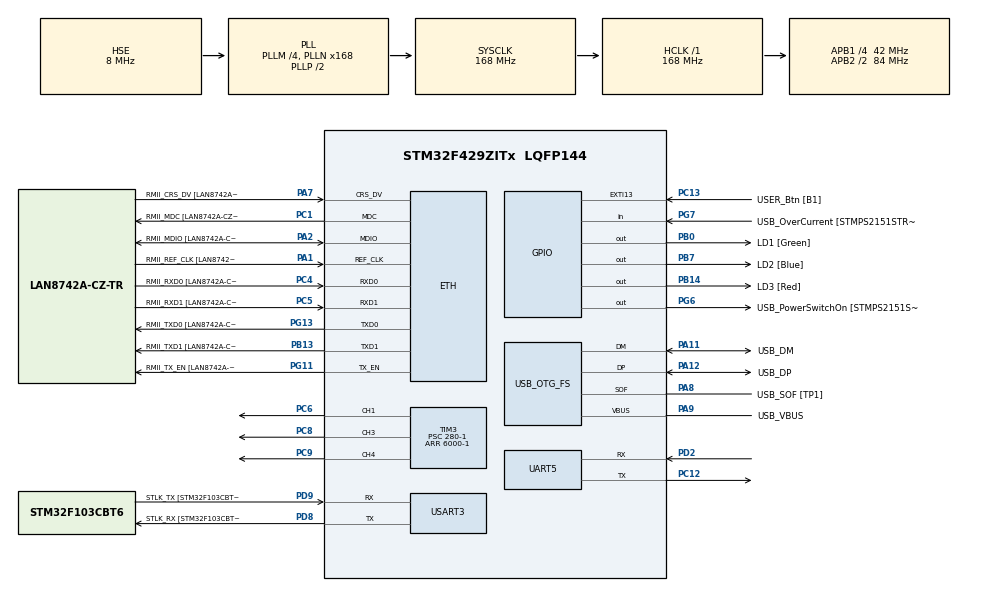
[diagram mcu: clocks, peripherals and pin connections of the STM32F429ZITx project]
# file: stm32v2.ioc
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ETH.MediaInterface=HAL_ETH_RMII_MODE
ETH.PHY_Name=LAN8742A_PHY_ADDRESS
ETH.PHY_Value=0
ETH.PhyAddress=0
Mcu.Family=STM32F4
Mcu.Name=STM32F429ZITx
Mcu.Package=LQFP144
NVIC.PriorityGroup=NVIC_PRIORITYGROUP_4
NVIC.TIM2_IRQn=true\:0\:0\:false\:true\:true\:1\:true\:true\:true
NVIC.TIM4_IRQn=true\:0\:0\:false\:false\:true\:true\:true\:true
NVIC.UART5_IRQn=true\:0\:0\:false\:true\:true\:2\:true\:true\:true
PA1.GPIO_Label=RMII_REF_CLK [LAN8742A-CZ-TR_REFCLK0]
PA1.Mode=RMII
PA1.Signal=ETH_REF_CLK
PA10.GPIO_Label=USB_ID
PA10.Signal=USB_OTG_FS_ID
PA11.GPIO_Label=USB_DM
PA11.Mode=Device_Only
PA11.Signal=USB_OTG_FS_DM
PA12.GPIO_Label=USB_DP
PA12.Mode=Device_Only
PA12.Signal=USB_OTG_FS_DP
PA13.GPIO_Label=TMS
PA13.Mode=Serial_Wire
PA13.Signal=SYS_JTMS-SWDIO
PA14.GPIO_Label=TCK
PA14.Mode=Serial_Wire
PA14.Signal=SYS_JTCK-SWCLK
PA2.GPIO_Label=RMII_MDIO [LAN8742A-CZ-TR_MDIO]
PA2.Mode=RMII
PA2.Signal=ETH_MDIO
PA7.GPIO_Label=RMII_CRS_DV [LAN8742A-CZ-TR_CRS_DV]
PA7.Mode=RMII
PA7.Signal=ETH_CRS_DV
PA8.GPIO_Label=USB_SOF [TP1]
PA8.Mode=Activate_SOF_FS
PA8.Signal=USB_OTG_FS_SOF
PA9.GPIO_Label=USB_VBUS
PA9.Mode=Activate_VBUS
PA9.Signal=USB_OTG_FS_VBUS
PB0.GPIO_Label=LD1 [Green]
PB0.Signal=GPIO_Output
PB13.GPIO_Label=RMII_TXD1 [LAN8742A-CZ-TR_TXD1]
PB13.Mode=RMII
PB13.Signal=ETH_TXD1
PB14.GPIO_Label=LD3 [Red]
PB14.Signal=GPIO_Output
PB7.GPIO_Label=LD2 [Blue]
PB7.Signal=GPIO_Output
PC1.GPIO_Label=RMII_MDC [LAN8742A-CZ-TR_MDC]
PC1.Mode=RMII
PC1.Signal=ETH_MDC
PC12.Mode=Asynchronous
PC12.Signal=UART5_TX
PC13.GPIO_Label=USER_Btn [B1]
PC13.Signal=GPXTI13
PC14/OSC32_IN.Mode=LSE-External-Oscillator
PC14/OSC32_IN.Signal=RCC_OSC32_IN
PC15/OSC32_OUT.Mode=LSE-External-Oscillator
PC15/OSC32_OUT.Signal=RCC_OSC32_OUT
PC4.GPIO_Label=RMII_RXD0 [LAN8742A-CZ-TR_RXD0]
PC4.Mode=RMII
PC4.Signal=ETH_RXD0
PC5.GPIO_Label=RMII_RXD1 [LAN8742A-CZ-TR_RXD1]
PC5.Mode=RMII
PC5.Signal=ETH_RXD1
PC6.Signal=S_TIM3_CH1
PC8.Signal=S_TIM3_CH3
PC9.Signal=S_TIM3_CH4
PD2.Mode=Asynchronous
PD2.Signal=UART5_RX
PD8.GPIO_Label=STLK_RX [STM32F103CBT6_PA3]
PD8.Mode=Asynchronous
PD8.Signal=USART3_TX
PD9.GPIO_Label=STLK_TX [STM32F103CBT6_PA2]
PD9.Mode=Asynchronous
PD9.Signal=USART3_RX
PG11.GPIO_Label=RMII_TX_EN [LAN8742A-CZ-TR_TXEN]
PG11.Mode=RMII
PG11.Signal=ETH_TX_EN
PG13.GPIO_Label=RMII_TXD0 [LAN8742A-CZ-TR_TXD0]
PG13.Mode=RMII
PG13.Signal=ETH_TXD0
PG6.GPIO_Label=USB_PowerSwitchOn [STMPS2151STR_EN]
PG6.Signal=GPIO_Output
PG7.GPIO_Label=USB_OverCurrent [STMPS2151STR_FAULT]
PG7.Signal=GPIO_Input
PH0/OSC_IN.GPIO_Label=MCO [STM32F103CBT6_PA8]
PH0/OSC_IN.Mode=HSE-External-Clock-Source
PH0/OSC_IN.Signal=RCC_OSC_IN
PH1/OSC_OUT.Mode=HSE-External-Clock-Source
PH1/OSC_OUT.Signal=RCC_OSC_OUT
ProjectManager.HeapSize=0x200
ProjectManager.StackSize=0x400
ProjectManager.TargetToolchain=STM32CubeIDE
RCC.48MHZClocksFreq_Value=48000000
RCC.AHBFreq_Value=168000000
RCC.APB1CLKDivider=RCC_HCLK_DIV4
RCC.APB1Freq_Value=42000000
RCC.APB1TimFreq_Value=84000000
RCC.APB2CLKDivider=RCC_HCLK_DIV2
RCC.APB2Freq_Value=84000000
RCC.APB2TimCLKDivider=2
RCC.APB2TimFreq_Value=168000000
RCC.CortexFreq_Value=168000000
RCC.HCLKFreq_Value=168000000
RCC.HSE_VALUE=8000000
RCC.HSI_VALUE=16000000
RCC.PLLM=4
RCC.PLLMUL=RCC_PLL_MUL9
RCC.PLLN=168
RCC.PLLQ=7
RCC.PRESCALERUSB=RCC_USBCLKSOURCE_PLL_DIV1_5
RCC.SYSCLKFreq_VALUE=168000000
RCC.SYSCLKSource=RCC_SYSCLKSOURCE_PLLCLK
RCC.SYSCLKSourceVirtual=RCC_SYSCLKSOURCE_PLLCLK
RCC.USBFreq_Value=48000000
RCC.VCOOutputFreq_Value=336000000
SH.S_TIM3_CH1.0=TIM3_CH1,PWM Generation1 CH1
SH.S_TIM3_CH3.0=TIM3_CH3,PWM Generation3 CH3
SH.S_TIM3_CH4.0=TIM3_CH4,PWM Generation4 CH4
TIM2.Period=2000-1
TIM2.Prescaler=42000-1
TIM3.Channel-PWM\ Generation1\ CH1=TIM_CHANNEL_1
TIM3.Channel-PWM\ Generation3\ CH3=TIM_CHANNEL_3
TIM3.Channel-PWM\ Generation4\ CH4=TIM_CHANNEL_4
TIM3.Period=6000-1
TIM3.Prescaler=280-1
TIM4.Period=1000-1
TIM4.Prescaler=42000-1
UART5.VirtualMode=Asynchronous
USART3.VirtualMode=VM_ASYNC
USB_OTG_FS.VirtualMode=Device_Only
VP_TIM2_VS_ClockSourceINT.Mode=Internal
VP_TIM3_VS_ClockSourceINT.Mode=Internal
VP_TIM4_VS_ClockSourceINT.Mode=Internal
board=NUCLEO-F429ZI

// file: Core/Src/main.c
/* USER CODE BEGIN Header */
/**
 ******************************************************************************
 * @file           : main.c
 * @brief          : Main program body
 ******************************************************************************
 * @attention
 *
 * Copyright (c) 2024 STMicroelectronics.
 * All rights reserved.
 *
 * This software is licensed under terms that can be found in the LICENSE file
 * in the root directory of this software component.
 * If no LICENSE file comes with this software, it is provided AS-IS.
 *
 ******************************************************************************
 */
/* USER CODE END Header */
#include "main.h"
#include "string.h"

ETH_TxPacketConfig TxConfig;
ETH_DMADescTypeDef
    DMARxDscrTab[ETH_RX_DESC_CNT]; /* Ethernet Rx DMA Descriptors */
ETH_DMADescTypeDef
    DMATxDscrTab[ETH_TX_DESC_CNT]; /* Ethernet Tx DMA Descriptors */

ETH_HandleTypeDef heth;

TIM_HandleTypeDef htim2;
TIM_HandleTypeDef htim3;
TIM_HandleTypeDef htim4;

UART_HandleTypeDef huart5;
UART_HandleTypeDef huart3;

PCD_HandleTypeDef hpcd_USB_OTG_FS;

void SystemClock_Config(void);
static void MX_GPIO_Init(void);
static void MX_ETH_Init(void);
static void MX_USART3_UART_Init(void);
static void MX_USB_OTG_FS_PCD_Init(void);
static void MX_TIM2_Init(void);
static void MX_TIM3_Init(void);
static void MX_UART5_Init(void);
static void MX_TIM4_Init(void);
static void MX_NVIC_Init(void);

/* USER CODE BEGIN 0 */
int8_t rxbuf;
int8_t oper[4];
const uint8_t RES_ERR = 0, RES_DON = 1;
#define MOVEOP 0
#define TRIGOP 1
#define ENDOFDATA 2
#define PHIMAX 750
#define PHIMIN 150
#define THTMAX 750
#define THTMIN 450
#define DFLTPULSE 210
#define TRIGPULSE 680
#define MAXBOUNDCNT 30
const int PHICENTER = 450 - 1, THTCENTER = 740 - 1;
const float kpx = .13, kpy = .13;
volatile int phipulse = PHICENTER, thtpulse = THTCENTER;
volatile int shotflag = 0, moveflag = 0;
volatile int boundcnt = MAXBOUNDCNT;
volatile int trigprogress = 0;
/* USER CODE END 0 */

int main(void) {

  /* MCU Configuration--------------------------------------------------------*/

  /* Reset of all peripherals, Initializes the Flash interface and the Systick.
   */
  HAL_Init();

  /* Configure the system clock */
  SystemClock_Config();

  /* Initialize all configured peripherals */
  MX_GPIO_Init();
  MX_ETH_Init();
  MX_USART3_UART_Init();
  MX_USB_OTG_FS_PCD_Init();
  MX_TIM2_Init();
  MX_TIM3_Init();
  MX_UART5_Init();
  MX_TIM4_Init();

  /* Initialize interrupts */
  MX_NVIC_Init();
  /* USER CODE BEGIN 2 */
  HAL_TIM_PWM_Start(&htim3, TIM_CHANNEL_1);
  HAL_TIM_PWM_Start(&htim3, TIM_CHANNEL_3);
  HAL_TIM_PWM_Start(&htim3, TIM_CHANNEL_4);
  HAL_UART_Receive_IT(&huart5, &rxbuf, 1);
  TIM3->CCR3 = THTCENTER;
  TIM3->CCR4 = PHICENTER;
  TIM3->CCR1 = DFLTPULSE;
  /* USER CODE END 2 */

  /* Infinite loop */
  /* USER CODE BEGIN WHILE */
  while (1) {
    if (moveflag) {
      // start dc motor
      HAL_GPIO_WritePin(GPIOB, GPIO_PIN_0, GPIO_PIN_SET);

      // caculate pwm duty cycle
      phipulse += kpx * (-oper[1]);
      thtpulse += kpy * (oper[2]);

      // check bound
      // if out of bound, boundcnt--;

      // apply pwm duty cycle
      TIM3->CCR3 = thtpulse;
      TIM3->CCR4 = phipulse;

      // reset flag
      moveflag = 0;
    }
    /* USER CODE END WHILE */

  }
}

void SystemClock_Config(void) {
  RCC_OscInitTypeDef RCC_OscInitStruct = {0};
  RCC_ClkInitTypeDef RCC_ClkInitStruct = {0};

  /** Configure the main internal regulator output voltage
   */
  __HAL_RCC_PWR_CLK_ENABLE();
  __HAL_PWR_VOLTAGESCALING_CONFIG(PWR_REGULATOR_VOLTAGE_SCALE1);

  /** Initializes the RCC Oscillators according to the specified parameters
   * in the RCC_OscInitTypeDef structure.
   */
  RCC_OscInitStruct.OscillatorType = RCC_OSCILLATORTYPE_HSE;
  RCC_OscInitStruct.HSEState = RCC_HSE_BYPASS;
  RCC_OscInitStruct.PLL.PLLState = RCC_PLL_ON;
  RCC_OscInitStruct.PLL.PLLSource = RCC_PLLSOURCE_HSE;
  RCC_OscInitStruct.PLL.PLLM = 4;
  RCC_OscInitStruct.PLL.PLLN = 168;
  RCC_OscInitStruct.PLL.PLLP = RCC_PLLP_DIV2;
  RCC_OscInitStruct.PLL.PLLQ = 7;
  if (HAL_RCC_OscConfig(&RCC_OscInitStruct) != HAL_OK) {
    Error_Handler();
  }

  /** Initializes the CPU, AHB and APB buses clocks
   */
  RCC_ClkInitStruct.ClockType = RCC_CLOCKTYPE_HCLK | RCC_CLOCKTYPE_SYSCLK |
                                RCC_CLOCKTYPE_PCLK1 | RCC_CLOCKTYPE_PCLK2;
  RCC_ClkInitStruct.SYSCLKSource = RCC_SYSCLKSOURCE_PLLCLK;
  RCC_ClkInitStruct.AHBCLKDivider = RCC_SYSCLK_DIV1;
  RCC_ClkInitStruct.APB1CLKDivider = RCC_HCLK_DIV4;
  RCC_ClkInitStruct.APB2CLKDivider = RCC_HCLK_DIV2;

  if (HAL_RCC_ClockConfig(&RCC_ClkInitStruct, FLASH_LATENCY_5) != HAL_OK) {
    Error_Handler();
  }
}

/**
 * @brief NVIC Configuration.
 * @retval None
 */
static void MX_NVIC_Init(void) {
  /* TIM2_IRQn interrupt configuration */
  HAL_NVIC_SetPriority(TIM2_IRQn, 0, 0);
  HAL_NVIC_EnableIRQ(TIM2_IRQn);
  /* UART5_IRQn interrupt configuration */
  HAL_NVIC_SetPriority(UART5_IRQn, 0, 0);
  HAL_NVIC_EnableIRQ(UART5_IRQn);
}

static void MX_ETH_Init(void) {

  static uint8_t MACAddr[6];

  heth.Instance = ETH;
  MACAddr[0] = 0x00;
  MACAddr[1] = 0x80;
  MACAddr[2] = 0xE1;
  MACAddr[3] = 0x00;
  MACAddr[4] = 0x00;
  MACAddr[5] = 0x00;
  heth.Init.MACAddr = &MACAddr[0];
  heth.Init.MediaInterface = HAL_ETH_RMII_MODE;
  heth.Init.TxDesc = DMATxDscrTab;
  heth.Init.RxDesc = DMARxDscrTab;
  heth.Init.RxBuffLen = 1524;

  if (HAL_ETH_Init(&heth) != HAL_OK) {
    Error_Handler();
  }

  memset(&TxConfig, 0, sizeof(ETH_TxPacketConfig));
  TxConfig.Attributes =
      ETH_TX_PACKETS_FEATURES_CSUM | ETH_TX_PACKETS_FEATURES_CRCPAD;
  TxConfig.ChecksumCtrl = ETH_CHECKSUM_IPHDR_PAYLOAD_INSERT_PHDR_CALC;
  TxConfig.CRCPadCtrl = ETH_CRC_PAD_INSERT;
}

static void MX_TIM2_Init(void) {

  TIM_ClockConfigTypeDef sClockSourceConfig = {0};
  TIM_MasterConfigTypeDef sMasterConfig = {0};

  htim2.Instance = TIM2;
  htim2.Init.Prescaler = 42000 - 1;
  htim2.Init.CounterMode = TIM_COUNTERMODE_UP;
  htim2.Init.Period = 2000 - 1;
  htim2.Init.ClockDivision = TIM_CLOCKDIVISION_DIV1;
  htim2.Init.AutoReloadPreload = TIM_AUTORELOAD_PRELOAD_DISABLE;
  if (HAL_TIM_Base_Init(&htim2) != HAL_OK) {
    Error_Handler();
  }
  sClockSourceConfig.ClockSource = TIM_CLOCKSOURCE_INTERNAL;
  if (HAL_TIM_ConfigClockSource(&htim2, &sClockSourceConfig) != HAL_OK) {
    Error_Handler();
  }
  sMasterConfig.MasterOutputTrigger = TIM_TRGO_RESET;
  sMasterConfig.MasterSlaveMode = TIM_MASTERSLAVEMODE_DISABLE;
  if (HAL_TIMEx_MasterConfigSynchronization(&htim2, &sMasterConfig) != HAL_OK) {
    Error_Handler();
  }
}

static void MX_TIM3_Init(void) {

  TIM_ClockConfigTypeDef sClockSourceConfig = {0};
  TIM_MasterConfigTypeDef sMasterConfig = {0};
  TIM_OC_InitTypeDef sConfigOC = {0};

  htim3.Instance = TIM3;
  htim3.Init.Prescaler = 280 - 1;
  htim3.Init.CounterMode = TIM_COUNTERMODE_UP;
  htim3.Init.Period = 6000 - 1;
  htim3.Init.ClockDivision = TIM_CLOCKDIVISION_DIV1;
  htim3.Init.AutoReloadPreload = TIM_AUTORELOAD_PRELOAD_DISABLE;
  if (HAL_TIM_Base_Init(&htim3) != HAL_OK) {
    Error_Handler();
  }
  sClockSourceConfig.ClockSource = TIM_CLOCKSOURCE_INTERNAL;
  if (HAL_TIM_ConfigClockSource(&htim3, &sClockSourceConfig) != HAL_OK) {
    Error_Handler();
  }
  if (HAL_TIM_PWM_Init(&htim3) != HAL_OK) {
    Error_Handler();
  }
  sMasterConfig.MasterOutputTrigger = TIM_TRGO_RESET;
  sMasterConfig.MasterSlaveMode = TIM_MASTERSLAVEMODE_DISABLE;
  if (HAL_TIMEx_MasterConfigSynchronization(&htim3, &sMasterConfig) != HAL_OK) {
    Error_Handler();
  }
  sConfigOC.OCMode = TIM_OCMODE_PWM1;
  sConfigOC.Pulse = 0;
  sConfigOC.OCPolarity = TIM_OCPOLARITY_HIGH;
  sConfigOC.OCFastMode = TIM_OCFAST_DISABLE;
  if (HAL_TIM_PWM_ConfigChannel(&htim3, &sConfigOC, TIM_CHANNEL_1) != HAL_OK) {
    Error_Handler();
  }
  if (HAL_TIM_PWM_ConfigChannel(&htim3, &sConfigOC, TIM_CHANNEL_3) != HAL_OK) {
    Error_Handler();
  }
  if (HAL_TIM_PWM_ConfigChannel(&htim3, &sConfigOC, TIM_CHANNEL_4) != HAL_OK) {
    Error_Handler();
  }
  HAL_TIM_MspPostInit(&htim3);
}

static void MX_TIM4_Init(void) {

  TIM_ClockConfigTypeDef sClockSourceConfig = {0};
  TIM_MasterConfigTypeDef sMasterConfig = {0};

  htim4.Instance = TIM4;
  htim4.Init.Prescaler = 42000 - 1;
  htim4.Init.CounterMode = TIM_COUNTERMODE_UP;
  htim4.Init.Period = 1000 - 1;
  htim4.Init.ClockDivision = TIM_CLOCKDIVISION_DIV1;
  htim4.Init.AutoReloadPreload = TIM_AUTORELOAD_PRELOAD_DISABLE;
  if (HAL_TIM_Base_Init(&htim4) != HAL_OK) {
    Error_Handler();
  }
  sClockSourceConfig.ClockSource = TIM_CLOCKSOURCE_INTERNAL;
  if (HAL_TIM_ConfigClockSource(&htim4, &sClockSourceConfig) != HAL_OK) {
    Error_Handler();
  }
  sMasterConfig.MasterOutputTrigger = TIM_TRGO_RESET;
  sMasterConfig.MasterSlaveMode = TIM_MASTERSLAVEMODE_DISABLE;
  if (HAL_TIMEx_MasterConfigSynchronization(&htim4, &sMasterConfig) != HAL_OK) {
    Error_Handler();
  }
}

static void MX_UART5_Init(void) {

  huart5.Instance = UART5;
  huart5.Init.BaudRate = 115200;
  huart5.Init.WordLength = UART_WORDLENGTH_8B;
  huart5.Init.StopBits = UART_STOPBITS_1;
  huart5.Init.Parity = UART_PARITY_NONE;
  huart5.Init.Mode = UART_MODE_TX_RX;
  huart5.Init.HwFlowCtl = UART_HWCONTROL_NONE;
  huart5.Init.OverSampling = UART_OVERSAMPLING_16;
  if (HAL_UART_Init(&huart5) != HAL_OK) {
    Error_Handler();
  }
}

static void MX_USART3_UART_Init(void) {

  huart3.Instance = USART3;
  huart3.Init.BaudRate = 115200;
  huart3.Init.WordLength = UART_WORDLENGTH_8B;
  huart3.Init.StopBits = UART_STOPBITS_1;
  huart3.Init.Parity = UART_PARITY_NONE;
  huart3.Init.Mode = UART_MODE_TX_RX;
  huart3.Init.HwFlowCtl = UART_HWCONTROL_NONE;
  huart3.Init.OverSampling = UART_OVERSAMPLING_16;
  if (HAL_UART_Init(&huart3) != HAL_OK) {
    Error_Handler();
  }
}

static void MX_USB_OTG_FS_PCD_Init(void) {

  hpcd_USB_OTG_FS.Instance = USB_OTG_FS;
  hpcd_USB_OTG_FS.Init.dev_endpoints = 4;
  hpcd_USB_OTG_FS.Init.speed = PCD_SPEED_FULL;
  hpcd_USB_OTG_FS.Init.dma_enable = DISABLE;
  hpcd_USB_OTG_FS.Init.phy_itface = PCD_PHY_EMBEDDED;
  hpcd_USB_OTG_FS.Init.Sof_enable = ENABLE;
  hpcd_USB_OTG_FS.Init.low_power_enable = DISABLE;
  hpcd_USB_OTG_FS.Init.lpm_enable = DISABLE;
  hpcd_USB_OTG_FS.Init.vbus_sensing_enable = ENABLE;
  hpcd_USB_OTG_FS.Init.use_dedicated_ep1 = DISABLE;
  if (HAL_PCD_Init(&hpcd_USB_OTG_FS) != HAL_OK) {
    Error_Handler();
  }
}

static void MX_GPIO_Init(void) {
  GPIO_InitTypeDef GPIO_InitStruct = {0};

  /* GPIO Ports Clock Enable */
  __HAL_RCC_GPIOC_CLK_ENABLE();
  __HAL_RCC_GPIOH_CLK_ENABLE();
  __HAL_RCC_GPIOA_CLK_ENABLE();
  __HAL_RCC_GPIOB_CLK_ENABLE();
  __HAL_RCC_GPIOD_CLK_ENABLE();
  __HAL_RCC_GPIOG_CLK_ENABLE();

  /*Configure GPIO pin Output Level */
  HAL_GPIO_WritePin(GPIOB, LD1_Pin | LD3_Pin | LD2_Pin, GPIO_PIN_RESET);

  /*Configure GPIO pin Output Level */
  HAL_GPIO_WritePin(USB_PowerSwitchOn_GPIO_Port, USB_PowerSwitchOn_Pin,
                    GPIO_PIN_RESET);

  /*Configure GPIO pin : USER_Btn_Pin */
  GPIO_InitStruct.Pin = USER_Btn_Pin;
  GPIO_InitStruct.Mode = GPIO_MODE_IT_RISING;
  GPIO_InitStruct.Pull = GPIO_NOPULL;
  HAL_GPIO_Init(USER_Btn_GPIO_Port, &GPIO_InitStruct);

  /*Configure GPIO pins : LD1_Pin LD3_Pin LD2_Pin */
  GPIO_InitStruct.Pin = LD1_Pin | LD3_Pin | LD2_Pin;
  GPIO_InitStruct.Mode = GPIO_MODE_OUTPUT_PP;
  GPIO_InitStruct.Pull = GPIO_NOPULL;
  GPIO_InitStruct.Speed = GPIO_SPEED_FREQ_LOW;
  HAL_GPIO_Init(GPIOB, &GPIO_InitStruct);

  /*Configure GPIO pin : USB_PowerSwitchOn_Pin */
  GPIO_InitStruct.Pin = USB_PowerSwitchOn_Pin;
  GPIO_InitStruct.Mode = GPIO_MODE_OUTPUT_PP;
  GPIO_InitStruct.Pull = GPIO_NOPULL;
  GPIO_InitStruct.Speed = GPIO_SPEED_FREQ_LOW;
  HAL_GPIO_Init(USB_PowerSwitchOn_GPIO_Port, &GPIO_InitStruct);

  /*Configure GPIO pin : USB_OverCurrent_Pin */
  GPIO_InitStruct.Pin = USB_OverCurrent_Pin;
  GPIO_InitStruct.Mode = GPIO_MODE_INPUT;
  GPIO_InitStruct.Pull = GPIO_NOPULL;
  HAL_GPIO_Init(USB_OverCurrent_GPIO_Port, &GPIO_InitStruct);

}

/* USER CODE BEGIN 4 */
void HAL_TIM_PeriodElapsedCallback(TIM_HandleTypeDef *htim) {
  if (htim->Instance == TIM2) {
    shotflag = 0;
  }
  if (htim->Instance == TIM4) {
    switch (trigprogress) {
    case 0:
    case 2:
      TIM3->CCR1 = TRIGPULSE;
      break;
    case 1:
    case 3:
      TIM3->CCR1 = DFLTPULSE;
      break;
    }
    if (trigprogress++ < 3)
      HAL_TIM_Base_Start_IT(&htim4);
    else {
      trigprogress = 0;
      boundcnt = MAXBOUNDCNT;
      TIM3->CCR3 = THTCENTER, TIM3->CCR4 = PHICENTER;
      HAL_TIM_Base_Start_IT(&htim2);
    }
  }
}

void HAL_UART_RxCpltCallback(UART_HandleTypeDef *huart) {
  oper[0] = oper[1];
  oper[1] = oper[2];
  oper[2] = oper[3];
  oper[3] = rxbuf;
  if (oper[3] == ENDOFDATA && oper[0] == MOVEOP && moveflag == 0)
    moveflag = 1;
  else if (oper[3] == ENDOFDATA && oper[0] == TRIGOP && shotflag == 0)
    shotflag = 1, HAL_TIM_Base_Start_IT(&htim4);
  HAL_UART_Receive_IT(&huart5, &rxbuf, 1);
}
/* USER CODE END 4 */

void Error_Handler(void) {
  __disable_irq();
  while (1) {
  }
}

#ifdef USE_FULL_ASSERT
/**
 * @brief  Reports the name of the source file and the source line number
 *         where the assert_param error has occurred.
 * @param  file: pointer to the source file name
 * @param  line: assert_param error line source number
 * @retval None
 */
void assert_failed(uint8_t *file, uint32_t line) {
  /* USER CODE BEGIN 6 */
  /* User can add his own implementation to report the file name and line
     number, ex: printf("Wrong parameters value: file %s on line %d\r\n", file,
     line) */
  /* USER CODE END 6 */
}
#endif /* USE_FULL_ASSERT */
